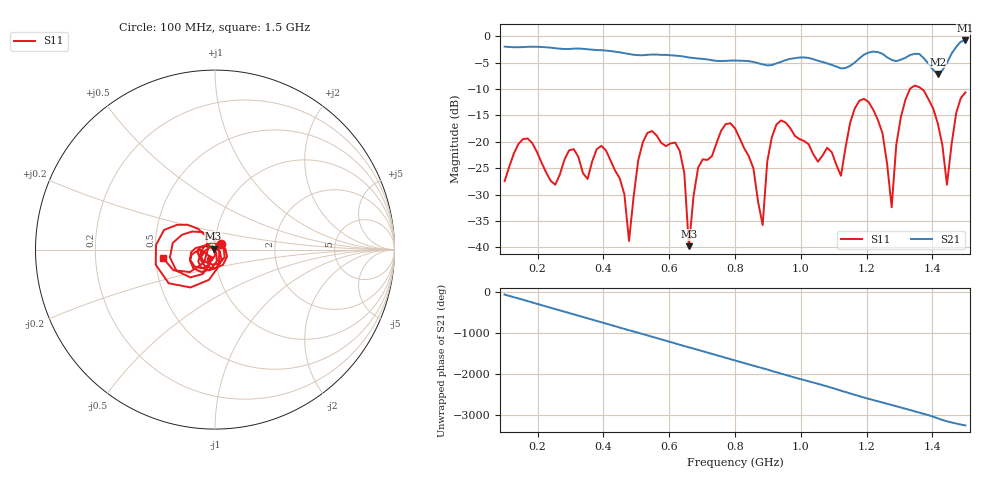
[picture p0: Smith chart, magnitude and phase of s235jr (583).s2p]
! NanoVNA-App
! Date: 2025-09-25 15:08:42
! Start: 100MHz Stop: 1,5GHz Points: 101
! S-Parameter data: F S11 S21 S12 S22
# Hz S RI R 50
!  Frequency  S11_Real  S11_Imag  S21_Real  S21_Imag  S12_Real  S12_Imag  S22_Real  S22_Imag
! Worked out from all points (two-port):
!   101 points, 100 MHz to 1.5 GHz, reference 50 ohm
!   highest |S21| = -0.80 dB at 1.5 GHz (marker M1); lowest = -7.2 dB at 1.416 GHz (marker M2)
!   |S21| within 3 dB of the highest: start of sweep to 638.3 MHz; 1.186 GHz to 1.258 GHz (72.3 MHz wide, 5.92 % of centre) (the widest 2 of 4)
!   lowest |S11| = -39.8 dB at 660 MHz (marker M3), VSWR 1.02, Z = 49.2 + j0.586 ohm
!   |S11| at or under -10 dB: start of sweep to 1.332 GHz; 1.367 GHz to end of sweep
!   S12 and S22 are empty: the file has one direction only
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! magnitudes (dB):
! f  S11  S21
! 100 MHz  -27.5  -2.0
! 170 MHz  -19.4  -2.0
! 338 MHz  -26.0  -2.4
! 408 MHz  -21.7  -2.7
! 478 MHz  -38.8  -3.4
! 520 MHz  -20.1  -3.6
! 576 MHz  -20.2  -3.5
! 632 MHz  -21.7  -3.7
! 660 MHz  -39.8  -4.0
! 688 MHz  -24.9  -4.2
! 800 MHz  -17.5  -4.6
! 884 MHz  -35.8  -5.3
! 926 MHz  -16.7  -5.1
! 1.038 GHz  -22.4  -4.3
! 1.122 GHz  -26.5  -6.1
! 1.192 GHz  -11.9  -3.5
! 1.248 GHz  -18.4  -3.3
! 1.276 GHz  -32.4  -4.5
! 1.332 GHz  -9.9  -3.6
! 1.416 GHz  -16.5  -7.2
! 1.444 GHz  -28.2  -5.1
! 1.5 GHz  -10.6  -0.8
